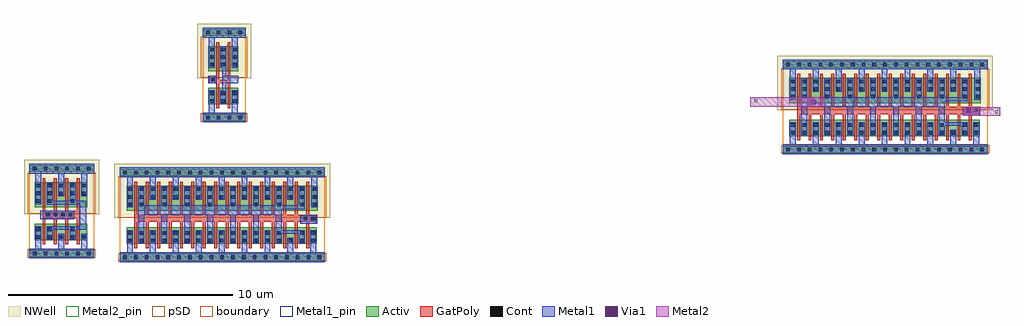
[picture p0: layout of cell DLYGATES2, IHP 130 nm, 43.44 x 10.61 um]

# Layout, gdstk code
import gdstk
lib = gdstk.Library(unit=1e-6, precision=1e-09)
def R(c, l, rs):  # rectangles x0, y0, x1, y1
    for r in rs: c.add(gdstk.rectangle(r[:2], r[2:], *l))
def A(c, l, x, y, w, h, nx, ny, dx, dy):  # array of equal rectangles
    R(c, l, [(x+i*dx, y+j*dy, x+i*dx+w, y+j*dy+h) for i in range(nx) for j in range(ny)])
def P(c, l, *ps):  # polygons
    for p in ps: c.add(gdstk.Polygon(p, *l))
Activ = (1, 0)
GatPoly = (5, 0)
Cont = (6, 0)
Metal1 = (8, 0)
Metal1_pin = (8, 2)
Metal2 = (10, 0)
Metal2_pin = (10, 2)
pSD = (14, 0)
Via1 = (19, 0)
NWell = (31, 0)
boundary = (189, 4)

sg13g2_inv_16 = lib.new_cell('sg13g2_inv_16')
R(sg13g2_inv_16, Activ, [(0,-0.15,9.12,0.15), (0.305,0.59,8.765,1.33), (0.305,2.06,8.815,3.18), (0,3.63,9.12,3.93)])
R(sg13g2_inv_16, GatPoly, [(8.425,1.57,8.785,1.9)])
P(sg13g2_inv_16, GatPoly, [(0.645,0.41),(0.645,3.36),(0.775,3.36),(0.775,1.9),(1.155,1.9),(1.155,3.36),(1.285,3.36),(1.285,1.9),(1.665,1.9),(1.665,3.36),(1.795,3.36),(1.795,1.9),(2.175,1.9),(2.175,3.36),(2.305,3.36),(2.305,1.9),(2.685,1.9),(2.685,3.36),(2.815,3.36),(2.815,1.9),(3.195,1.9),(3.195,3.36),(3.325,3.36),(3.325,1.9),(3.705,1.9),(3.705,3.36),(3.835,3.36),(3.835,1.9),(4.215,1.9),(4.215,3.36),(4.345,3.36),(4.345,1.9),(4.725,1.9),(4.725,3.36),(4.855,3.36),(4.855,1.9),(5.235,1.9),(5.235,3.36),(5.365,3.36),(5.365,1.9),(5.745,1.9),(5.745,3.36),(5.875,3.36),(5.875,1.9),(6.255,1.9),(6.255,3.36),(6.385,3.36),(6.385,1.9),(6.765,1.9),(6.765,3.36),(6.895,3.36),(6.895,1.9),(7.275,1.9),(7.275,3.36),(7.405,3.36),(7.405,1.9),(7.785,1.9),(7.785,3.36),(7.915,3.36),(7.915,1.9),(8.295,1.9),(8.295,3.36),(8.425,3.36),(8.425,0.41),(8.295,0.41),(8.295,1.57),(7.915,1.57),(7.915,0.41),(7.785,0.41),(7.785,1.57),(7.405,1.57),(7.405,0.41),(7.275,0.41),(7.275,1.57),(6.895,1.57),(6.895,0.41),(6.765,0.41),(6.765,1.57),(6.385,1.57),(6.385,0.41),(6.255,0.41),(6.255,1.57),(5.875,1.57),(5.875,0.41),(5.745,0.41),(5.745,1.57),(5.365,1.57),(5.365,0.41),(5.235,0.41),(5.235,1.57),(4.855,1.57),(4.855,0.41),(4.725,0.41),(4.725,1.57),(4.345,1.57),(4.345,0.41),(4.215,0.41),(4.215,1.57),(3.835,1.57),(3.835,0.41),(3.705,0.41),(3.705,1.57),(3.325,1.57),(3.325,0.41),(3.195,0.41),(3.195,1.57),(2.815,1.57),(2.815,0.41),(2.685,0.41),(2.685,1.57),(2.305,1.57),(2.305,0.41),(2.175,0.41),(2.175,1.57),(1.795,1.57),(1.795,0.41),(1.665,0.41),(1.665,1.57),(1.285,1.57),(1.285,0.41),(1.155,0.41),(1.155,1.57),(0.775,1.57),(0.775,0.41)])
A(sg13g2_inv_16, Cont, 0.375, 0.66, 0.16, 0.16, 17, 1, 0.51, 0)
A(sg13g2_inv_16, Cont, 0.375, 1, 0.16, 0.16, 14, 1, 0.51, 0)
A(sg13g2_inv_16, Cont, 0.885, 2.27, 0.16, 0.16, 8, 1, 1.02, 0)
A(sg13g2_inv_16, Cont, 8.585, 2.27, 0.16, 0.16, 1, 3, 0, 0.34)
A(sg13g2_inv_16, Cont, 0.375, 2.61, 0.16, 0.16, 16, 2, 0.51, 0.34)
R(sg13g2_inv_16, Cont, [(0.16,-0.08,0.32,0.08), (0.16,-0.08,0.32,0.08), (0.64,-0.08,0.8,0.08), (0.64,-0.08,0.8,0.08), (1.12,-0.08,1.28,0.08), (1.12,-0.08,1.28,0.08), (1.6,-0.08,1.76,0.08), (1.6,-0.08,1.76,0.08), (2.08,-0.08,2.24,0.08), (2.08,-0.08,2.24,0.08), (2.56,-0.08,2.72,0.08), (2.56,-0.08,2.72,0.08), (3.04,-0.08,3.2,0.08), (3.04,-0.08,3.2,0.08), (3.52,-0.08,3.68,0.08), (3.52,-0.08,3.68,0.08), (4,-0.08,4.16,0.08), (4,-0.08,4.16,0.08), (4.48,-0.08,4.64,0.08), (4.48,-0.08,4.64,0.08), (4.96,-0.08,5.12,0.08), (4.96,-0.08,5.12,0.08), (5.44,-0.08,5.6,0.08), (5.44,-0.08,5.6,0.08), (5.92,-0.08,6.08,0.08), (5.92,-0.08,6.08,0.08), (6.4,-0.08,6.56,0.08), (6.4,-0.08,6.56,0.08), (6.88,-0.08,7.04,0.08), (6.88,-0.08,7.04,0.08), (7.36,-0.08,7.52,0.08), (7.36,-0.08,7.52,0.08), (7.84,-0.08,8,0.08), (7.84,-0.08,8,0.08), (8.32,-0.08,8.48,0.08), (8.32,-0.08,8.48,0.08), (8.8,-0.08,8.96,0.08), (8.8,-0.08,8.96,0.08), (8.025,1,8.185,1.16), (8.535,1,8.695,1.16), (8.195,1.65,8.355,1.81), (8.535,1.65,8.695,1.81), (0.375,2.27,0.535,2.43), (0.16,3.7,0.32,3.86), (0.16,3.7,0.32,3.86), (0.64,3.7,0.8,3.86), (0.64,3.7,0.8,3.86), (1.12,3.7,1.28,3.86), (1.12,3.7,1.28,3.86), (1.6,3.7,1.76,3.86), (1.6,3.7,1.76,3.86), (2.08,3.7,2.24,3.86), (2.08,3.7,2.24,3.86), (2.56,3.7,2.72,3.86), (2.56,3.7,2.72,3.86), (3.04,3.7,3.2,3.86), (3.04,3.7,3.2,3.86), (3.52,3.7,3.68,3.86), (3.52,3.7,3.68,3.86), (4,3.7,4.16,3.86), (4,3.7,4.16,3.86), (4.48,3.7,4.64,3.86), (4.48,3.7,4.64,3.86), (4.96,3.7,5.12,3.86), (4.96,3.7,5.12,3.86), (5.44,3.7,5.6,3.86), (5.44,3.7,5.6,3.86), (5.92,3.7,6.08,3.86), (5.92,3.7,6.08,3.86), (6.4,3.7,6.56,3.86), (6.4,3.7,6.56,3.86), (6.88,3.7,7.04,3.86), (6.88,3.7,7.04,3.86), (7.36,3.7,7.52,3.86), (7.36,3.7,7.52,3.86), (7.84,3.7,8,3.86), (7.84,3.7,8,3.86), (8.32,3.7,8.48,3.86), (8.32,3.7,8.48,3.86), (8.8,3.7,8.96,3.86), (8.8,3.7,8.96,3.86)])
R(sg13g2_inv_16, Metal1, [(8.025,1.49,8.785,1.87)])
P(sg13g2_inv_16, Metal1, [(0,-0.22),(0,0.22),(0.325,0.22),(0.325,1.21),(0.585,1.21),(0.585,0.22),(1.345,0.22),(1.345,1.21),(1.605,1.21),(1.605,0.22),(2.365,0.22),(2.365,1.21),(2.625,1.21),(2.625,0.22),(3.385,0.22),(3.385,1.21),(3.645,1.21),(3.645,0.22),(4.405,0.22),(4.405,1.21),(4.665,1.21),(4.665,0.22),(5.425,0.22),(5.425,1.21),(5.685,1.21),(5.685,0.22),(6.445,0.22),(6.445,1.21),(6.705,1.21),(6.705,0.22),(7.465,0.22),(7.465,0.87),(7.725,0.87),(7.725,0.22),(8.485,0.22),(8.485,1.21),(8.745,1.21),(8.745,0.22),(9.12,0.22),(9.12,-0.22)],
  [(0.325,2.22),(0.325,3.56),(0,3.56),(0,4),(9.12,4),(9.12,3.56),(8.795,3.56),(8.795,2.22),(8.535,2.22),(8.535,3.555),(7.725,3.555),(7.725,2.56),(7.465,2.56),(7.465,3.56),(6.705,3.56),(6.705,2.56),(6.445,2.56),(6.445,3.56),(5.685,3.56),(5.685,2.56),(5.425,2.56),(5.425,3.56),(4.665,3.56),(4.665,2.56),(4.405,2.56),(4.405,3.56),(3.645,3.56),(3.645,2.56),(3.385,2.56),(3.385,3.56),(2.625,3.56),(2.625,2.56),(2.365,2.56),(2.365,3.56),(1.605,3.56),(1.605,2.56),(1.345,2.56),(1.345,3.56),(0.585,3.56),(0.585,2.22)],
  [(2.875,0.625),(2.875,1.9),(2.115,1.9),(2.115,0.63),(1.855,0.63),(1.855,1.9),(1.095,1.9),(1.095,0.63),(0.835,0.63),(0.835,3.16),(1.095,3.16),(1.095,2.32),(1.855,2.32),(1.855,3.16),(2.115,3.16),(2.115,2.32),(2.875,2.32),(2.875,3.16),(3.135,3.16),(3.135,2.32),(3.895,2.32),(3.895,3.16),(4.155,3.16),(4.155,2.32),(4.915,2.32),(4.915,3.16),(5.175,3.16),(5.175,2.32),(5.935,2.32),(5.935,3.16),(6.195,3.16),(6.195,2.32),(6.955,2.32),(6.955,3.16),(7.215,3.16),(7.215,2.32),(7.975,2.32),(7.975,3.16),(8.235,3.16),(8.235,2.145),(7.215,2.145),(7.215,1.21),(8.235,1.21),(8.235,0.625),(7.975,0.625),(7.975,1.05),(7.215,1.05),(7.215,0.625),(6.955,0.625),(6.955,1.9),(6.195,1.9),(6.195,0.625),(5.935,0.625),(5.935,1.9),(5.175,1.9),(5.175,0.625),(4.915,0.625),(4.915,1.9),(4.155,1.9),(4.155,0.625),(3.895,0.625),(3.895,1.9),(3.135,1.9),(3.135,0.625)])
R(sg13g2_inv_16, Metal1_pin, [(0,-0.22,9.12,0.22), (8.025,1.49,8.745,1.87), (1.095,1.9,3.135,2.32), (0,3.56,9.12,4)])
R(sg13g2_inv_16, pSD, [(-0.065,-0.18,9.19,0.18), (-0.065,1.76,9.19,3.6)])
R(sg13g2_inv_16, NWell, [(-0.24,1.75,9.36,4.17)])
R(sg13g2_inv_16, boundary, [(0,0,9.12,3.78)])
sg13g2_inv_16.add(gdstk.Label('VSS', (3.86,-0.025), layer=8, texttype=25))
sg13g2_inv_16.add(gdstk.Label('VDD', (4.28,3.795), layer=8, texttype=25))
sg13g2_inv_16.add(gdstk.Label('A', (8.16,1.68), layer=8, texttype=25))
sg13g2_inv_16.add(gdstk.Label('Y', (2.16,2.06), layer=8, texttype=25))

inv16 = lib.new_cell('INV16')
R(inv16, Metal1_pin, [(4.77,0.145,4.9,0.275), (4.76,3.95,4.89,4.08)])
R(inv16, Metal2, [(8.265,1.71,9.915,2.09), (-1.2,2.12,2.11,2.54)])
R(inv16, Metal2_pin, [(9.695,1.83,9.825,1.96), (-1.03,2.315,-0.9,2.445)])
R(inv16, Via1, [(8.42,1.855,8.61,2.045), (1.52,2.23,1.71,2.42)])
inv16.add(gdstk.Reference(sg13g2_inv_16, (0.24,0.22)))
inv16.add(gdstk.Label('VDD', (4.825,4.015), layer=8, texttype=25))
inv16.add(gdstk.Label('VSS', (4.835,0.21), layer=8, texttype=25))
inv16.add(gdstk.Label('VIN', (-0.965,2.38), layer=10, texttype=25))
inv16.add(gdstk.Label('VOUT', (9.76,1.895), layer=10, texttype=25))

sg13g2_inv_2 = lib.new_cell('sg13g2_inv_2')
R(sg13g2_inv_2, Activ, [(0,-0.15,1.92,0.15), (0.265,0.59,1.585,1.33), (0.265,2.06,1.59,3.18), (0,3.63,1.92,3.93)])
P(sg13g2_inv_2, GatPoly, [(0.605,0.41),(0.605,1.52),(0.305,1.52),(0.305,1.85),(0.605,1.85),(0.605,3.36),(0.735,3.36),(0.735,1.67),(1.115,1.67),(1.115,3.36),(1.245,3.36),(1.245,0.41),(1.115,0.41),(1.115,1.52),(0.735,1.52),(0.735,0.41)])
A(sg13g2_inv_2, Cont, 0.335, 0.66, 0.16, 0.16, 3, 2, 0.51, 0.34)
A(sg13g2_inv_2, Cont, 0.335, 2.27, 0.16, 0.16, 1, 3, 0, 0.34)
A(sg13g2_inv_2, Cont, 0.845, 2.27, 0.16, 0.16, 1, 3, 0, 0.34)
A(sg13g2_inv_2, Cont, 1.36, 2.27, 0.16, 0.16, 1, 3, 0, 0.34)
R(sg13g2_inv_2, Cont, [(0.16,-0.08,0.32,0.08), (0.16,-0.08,0.32,0.08), (0.64,-0.08,0.8,0.08), (0.64,-0.08,0.8,0.08), (1.12,-0.08,1.28,0.08), (1.12,-0.08,1.28,0.08), (1.6,-0.08,1.76,0.08), (1.6,-0.08,1.76,0.08), (0.39,1.605,0.55,1.765), (0.16,3.7,0.32,3.86), (0.16,3.7,0.32,3.86), (0.64,3.7,0.8,3.86), (0.64,3.7,0.8,3.86), (1.12,3.7,1.28,3.86), (1.12,3.7,1.28,3.86), (1.6,3.7,1.76,3.86), (1.6,3.7,1.76,3.86)])
R(sg13g2_inv_2, Metal1, [(0.255,1.52,0.635,1.85)])
P(sg13g2_inv_2, Metal1, [(0.285,2.22),(0.285,3.56),(0,3.56),(0,4),(1.92,4),(1.92,3.56),(1.57,3.56),(1.57,2.22),(1.31,2.22),(1.31,3.56),(0.545,3.56),(0.545,2.22)],
  [(0,-0.22),(0,0.22),(0.285,0.22),(0.285,1.21),(0.545,1.21),(0.545,0.22),(1.305,0.22),(1.305,1.21),(1.565,1.21),(1.565,0.22),(1.92,0.22),(1.92,-0.22)],
  [(0.795,0.61),(0.795,1.21),(0.87,1.21),(0.87,2.22),(0.795,2.22),(0.795,3.18),(1.055,3.18),(1.055,1.85),(1.59,1.85),(1.59,1.52),(1.055,1.52),(1.055,0.61)])
R(sg13g2_inv_2, Metal1_pin, [(0,-0.22,1.92,0.22), (0.255,1.52,0.635,1.85), (0.87,1.52,1.59,1.85), (0,3.56,1.92,4)])
R(sg13g2_inv_2, pSD, [(-0.07,-0.18,1.99,0.18), (-0.07,1.76,1.99,3.6)])
R(sg13g2_inv_2, NWell, [(-0.24,1.75,2.16,4.17)])
R(sg13g2_inv_2, boundary, [(0,0,1.92,3.78)])
sg13g2_inv_2.add(gdstk.Label('VSS', (0.89,0), layer=8, texttype=25))
sg13g2_inv_2.add(gdstk.Label('VDD', (0.935,3.785), layer=8, texttype=25))
sg13g2_inv_2.add(gdstk.Label('Y', (1.44,1.68), layer=8, texttype=25))
sg13g2_inv_2.add(gdstk.Label('A', (0.48,1.68), layer=8, texttype=25))

sg13g2_inv_4 = lib.new_cell('sg13g2_inv_4')
R(sg13g2_inv_4, Activ, [(0,-0.15,2.88,0.15), (0.245,0.59,2.585,1.33), (0.245,2.06,2.585,3.18), (0,3.63,2.88,3.93)])
P(sg13g2_inv_4, GatPoly, [(0.585,0.41),(0.585,3.36),(0.715,3.36),(0.715,1.9),(1.095,1.9),(1.095,3.36),(1.225,3.36),(1.225,1.9),(1.605,1.9),(1.605,3.36),(1.735,3.36),(1.735,1.9),(2.115,1.9),(2.115,3.36),(2.245,3.36),(2.245,0.41),(2.115,0.41),(2.115,1.57),(1.735,1.57),(1.735,0.41),(1.605,0.41),(1.605,1.57),(1.225,1.57),(1.225,0.41),(1.095,0.41),(1.095,1.57),(0.715,1.57),(0.715,0.41)])
A(sg13g2_inv_4, Cont, 0.315, 0.66, 0.16, 0.16, 5, 2, 0.51, 2.285)
A(sg13g2_inv_4, Cont, 0.735, 1.655, 0.16, 0.16, 4, 1, 0.34, 0)
R(sg13g2_inv_4, Cont, [(0.16,-0.08,0.32,0.08), (0.16,-0.08,0.32,0.08), (0.64,-0.08,0.8,0.08), (0.64,-0.08,0.8,0.08), (1.12,-0.08,1.28,0.08), (1.12,-0.08,1.28,0.08), (1.6,-0.08,1.76,0.08), (1.6,-0.08,1.76,0.08), (2.08,-0.08,2.24,0.08), (2.08,-0.08,2.24,0.08), (2.56,-0.08,2.72,0.08), (2.56,-0.08,2.72,0.08), (0.315,1,0.475,1.16), (0.825,1,0.985,1.16), (1.845,1,2.005,1.16), (0.315,2.255,0.475,2.415), (0.825,2.255,0.985,2.415), (1.845,2.255,2.005,2.415), (1.335,2.595,1.495,2.755), (2.355,2.595,2.515,2.755), (0.315,2.605,0.475,2.765), (0.825,2.605,0.985,2.765), (1.845,2.605,2.005,2.765), (0.16,3.7,0.32,3.86), (0.16,3.7,0.32,3.86), (0.64,3.7,0.8,3.86), (0.64,3.7,0.8,3.86), (1.12,3.7,1.28,3.86), (1.12,3.7,1.28,3.86), (1.6,3.7,1.76,3.86), (1.6,3.7,1.76,3.86), (2.08,3.7,2.24,3.86), (2.08,3.7,2.24,3.86), (2.56,3.7,2.72,3.86), (2.56,3.7,2.72,3.86)])
R(sg13g2_inv_4, Metal1, [(0.48,1.52,2,1.9)])
P(sg13g2_inv_4, Metal1, [(0.775,0.61),(0.775,1.21),(2.245,1.21),(2.245,2.17),(0.775,2.17),(0.775,3.155),(1.035,3.155),(1.035,2.34),(1.795,2.34),(1.795,3.155),(2.055,3.155),(2.055,2.34),(2.54,2.34),(2.54,1.05),(2.055,1.05),(2.055,0.61),(1.795,0.61),(1.795,1.05),(1.035,1.05),(1.035,0.61)],
  [(0.265,2.205),(0.265,3.56),(0,3.56),(0,4),(2.88,4),(2.88,3.56),(2.565,3.56),(2.565,2.545),(2.305,2.545),(2.305,3.56),(1.545,3.56),(1.545,2.545),(1.285,2.545),(1.285,3.56),(0.525,3.56),(0.525,2.205)],
  [(0,-0.22),(0,0.22),(0.265,0.22),(0.265,1.21),(0.525,1.21),(0.525,0.22),(1.28,0.22),(1.28,0.87),(1.55,0.87),(1.55,0.22),(2.305,0.22),(2.305,0.87),(2.565,0.87),(2.565,0.22),(2.88,0.22),(2.88,-0.22)])
R(sg13g2_inv_4, Metal1_pin, [(0,-0.22,2.88,0.22), (2.245,1.05,2.54,2.34), (0.48,1.52,2,1.9), (0,3.56,2.88,4)])
R(sg13g2_inv_4, pSD, [(-0.07,-0.18,2.95,0.18), (-0.07,1.76,2.95,3.6)])
R(sg13g2_inv_4, NWell, [(-0.24,1.75,3.12,4.17)])
R(sg13g2_inv_4, boundary, [(0,0,2.88,3.78)])
sg13g2_inv_4.add(gdstk.Label('A', (0.96,1.68), layer=8, texttype=25))
sg13g2_inv_4.add(gdstk.Label('VDD', (1.925,3.8), layer=8, texttype=25))
sg13g2_inv_4.add(gdstk.Label('Y', (2.4,1.68), layer=8, texttype=25))
sg13g2_inv_4.add(gdstk.Label('VSS', (1.405,0.005), layer=8, texttype=25))

dlygates2 = lib.new_cell('DLYGATES2')
dlygates2.add(gdstk.Reference(inv16, (3.7,4.855)))
dlygates2.add(gdstk.Reference(sg13g2_inv_2, (-21.88,6.495)))
dlygates2.add(gdstk.Reference(sg13g2_inv_16, (-25.565,0.275)))
dlygates2.add(gdstk.Reference(sg13g2_inv_4, (-29.585,0.44)))

lib.write_gds('DLYGATES2.gds')
